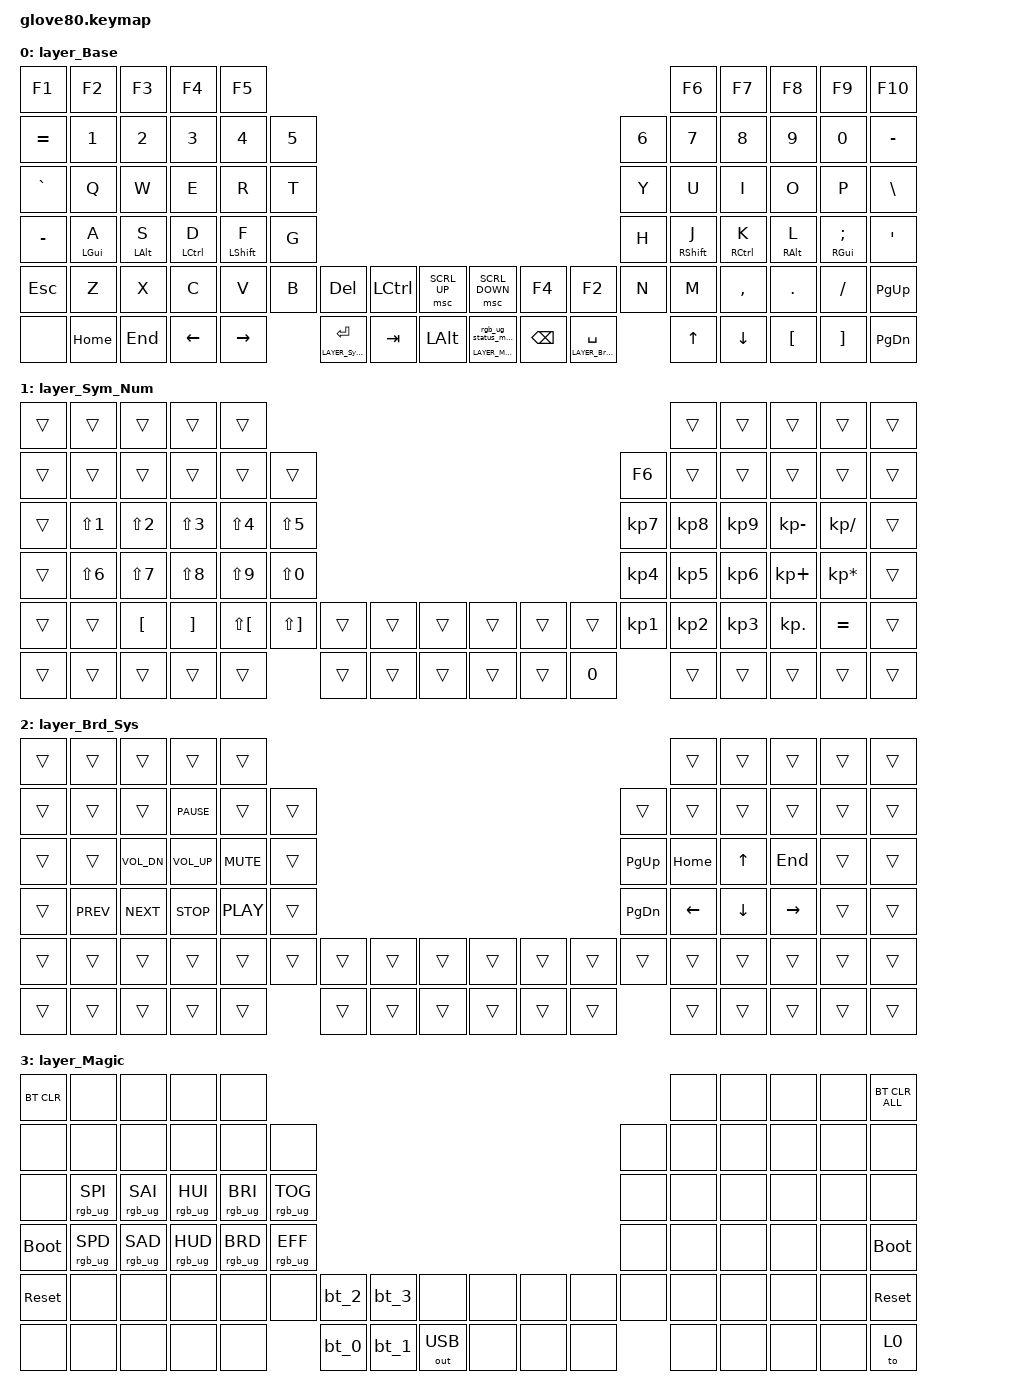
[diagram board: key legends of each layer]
/*
 * Copyright (c) 2020 The ZMK Contributors
 * Copyright (c) 2025 Innaworks Development Limited, trading as MoErgo
 *
 * SPDX-License-Identifier: MIT
 */


/* THIS FILE WAS GENERATED BY GLOVE80 LAYOUT EDITOR
 *
 * This file was generated automatically. You may or may not want to
 * edit it directly.
 */

#include <behaviors.dtsi>
/* Include all behavior includes needed */
#include <dt-bindings/zmk/outputs.h>
#include <dt-bindings/zmk/keys.h>
#include <dt-bindings/zmk/bt.h>
#include <dt-bindings/zmk/rgb.h>

/* On demand includes */
#include <dt-bindings/zmk/pointing.h>

/* Helper Macros, based on https://github.com/urob/zmk-helpers/ */

#pragma once

#define ZMK_HELPER_STRINGIFY(x) #x

// Preprocessor mechanism to overload macros, cf. https://stackoverflow.com/a/27051616/6114651
#define VARGS_(_10, _9, _8, _7, _6, _5, _4, _3, _2, _1, N, ...) N
#define VARGS(...) VARGS_(__VA_ARGS__, 10, 9, 8, 7, 6, 5, 4, 3, 2, 1, 0)
#define CONCAT_(a, b) a##b
#define CONCAT(a, b) CONCAT_(a, b)

#define ZMK_BEHAVIOR_CORE_tap_dance  \
    compatible = "zmk,behavior-tap-dance"; \
    #binding-cells = <0>

#define ZMK_BEHAVIOR(name, type, ...) \
    name: name { \
        ZMK_BEHAVIOR_CORE_ ## type; \
        __VA_ARGS__ \
    };

#define ZMK_TAP_DANCE(name, ...) \
    ZMK_BEHAVIOR(name, tap_dance, __VA_ARGS__)

#define ZMK_TD_LAYER(name, layer) \
    ZMK_TAP_DANCE(name, \
        tapping-term-ms = <200>; \
        bindings = <&mo layer>, <&to layer>; \
)

/* Environment and metadata defines */
#define KB_TYPE_GLOVE_80 1
#define KB_TYPE_GO_60    2

#define KB_TYPE          KB_TYPE_GLOVE_80
#define EDITOR_HOST_OS   'W'

/* Automatically generated layer name defines */
#define LAYER_Base 0
#define LAYER_Sym_Num 1
#define LAYER_Brd_Sys 2
#define LAYER_Magic 3

/* To deal with the situation where there is no Lower layer, to keep &lower happy */
#ifndef LAYER_Lower
#define LAYER_Lower 0
#endif

/* Custom Device-tree */


/* Input Listeners */


/* System behavior and Macros */
/ {
    behaviors {
        ZMK_TD_LAYER(lower, LAYER_Lower)
    };
};

/ {
    macros {
        rgb_ug_status_macro: rgb_ug_status_macro {
            label = "RGB_UG_STATUS";
            compatible = "zmk,behavior-macro";
            #binding-cells = <0>;
            bindings
                = <&rgb_ug RGB_STATUS>;
        };
    };
};


/ {
#ifdef BT_DISC_CMD
    behaviors {
        bt_0: bt_0 {
            compatible = "zmk,behavior-tap-dance";
            label = "BT_0";
            #binding-cells = <0>;
            tapping-term-ms = <200>;
            bindings = <&bt_select_0>, <&bt BT_DISC 0>;
        };
        bt_1: bt_1 {
            compatible = "zmk,behavior-tap-dance";
            label = "BT_1";
            #binding-cells = <0>;
            tapping-term-ms = <200>;
            bindings = <&bt_select_1>, <&bt BT_DISC 1>;
        };
        bt_2: bt_2 {
            compatible = "zmk,behavior-tap-dance";
            label = "BT_2";
            #binding-cells = <0>;
            tapping-term-ms = <200>;
            bindings = <&bt_select_2>, <&bt BT_DISC 2>;
        };
        bt_3: bt_3 {
            compatible = "zmk,behavior-tap-dance";
            label = "BT_3";
            #binding-cells = <0>;
            tapping-term-ms = <200>;
            bindings = <&bt_select_3>, <&bt BT_DISC 3>;
        };
    };
    macros {
        bt_select_0: bt_select_0 {
            label = "BT_SELECT_0";
            compatible = "zmk,behavior-macro";
            #binding-cells = <0>;
            bindings
                = <&out OUT_BLE>,
                  <&bt BT_SEL 0>;
        };
        bt_select_1: bt_select_1 {
            label = "BT_SELECT_1";
            compatible = "zmk,behavior-macro";
            #binding-cells = <0>;
            bindings
                = <&out OUT_BLE>,
                  <&bt BT_SEL 1>;
        };
        bt_select_2: bt_select_2 {
            label = "BT_SELECT_2";
            compatible = "zmk,behavior-macro";
            #binding-cells = <0>;
            bindings
                = <&out OUT_BLE>,
                  <&bt BT_SEL 2>;
        };
        bt_select_3: bt_select_3 {
            label = "BT_SELECT_3";
            compatible = "zmk,behavior-macro";
            #binding-cells = <0>;
            bindings
                = <&out OUT_BLE>,
                  <&bt BT_SEL 3>;
        };
    };
#else
    macros {
        bt_0: bt_0 {
            label = "BT_0";
            compatible = "zmk,behavior-macro";
            #binding-cells = <0>;
            bindings
                = <&out OUT_BLE>,
                  <&bt BT_SEL 0>;
        };
        bt_1: bt_1 {
            label = "BT_1";
            compatible = "zmk,behavior-macro";
            #binding-cells = <0>;
            bindings
                = <&out OUT_BLE>,
                  <&bt BT_SEL 1>;
        };
        bt_2: bt_2 {
            label = "BT_2";
            compatible = "zmk,behavior-macro";
            #binding-cells = <0>;
            bindings
                = <&out OUT_BLE>,
                  <&bt BT_SEL 2>;
        };
        bt_3: bt_3 {
            label = "BT_3";
            compatible = "zmk,behavior-macro";
            #binding-cells = <0>;
            bindings
                = <&out OUT_BLE>,
                  <&bt BT_SEL 3>;
        };
    };
#endif
};

/ {
    behaviors {
        magic: magic {
            compatible = "zmk,behavior-hold-tap";
            label = "MAGIC_HOLD_TAP";
            #binding-cells = <2>;
            flavor = "tap-preferred";
            tapping-term-ms = <200>;
            bindings = <&mo>, <&rgb_ug_status_macro>;
        };
    };
};


/* Key positions */

#define POS_LH_C6R1 0
#define POS_LH_C5R1 1
#define POS_LH_C4R1 2
#define POS_LH_C3R1 3
#define POS_LH_C2R1 4
#define POS_RH_C2R1 5
#define POS_RH_C3R1 6
#define POS_RH_C4R1 7
#define POS_RH_C5R1 8
#define POS_RH_C6R1 9
#define POS_LH_C6R2 10
#define POS_LH_C5R2 11
#define POS_LH_C4R2 12
#define POS_LH_C3R2 13
#define POS_LH_C2R2 14
#define POS_LH_C1R2 15
#define POS_RH_C1R2 16
#define POS_RH_C2R2 17
#define POS_RH_C3R2 18
#define POS_RH_C4R2 19
#define POS_RH_C5R2 20
#define POS_RH_C6R2 21
#define POS_LH_C6R3 22
#define POS_LH_C5R3 23
#define POS_LH_C4R3 24
#define POS_LH_C3R3 25
#define POS_LH_C2R3 26
#define POS_LH_C1R3 27
#define POS_RH_C1R3 28
#define POS_RH_C2R3 29
#define POS_RH_C3R3 30
#define POS_RH_C4R3 31
#define POS_RH_C5R3 32
#define POS_RH_C6R3 33
#define POS_LH_C6R4 34
#define POS_LH_C5R4 35
#define POS_LH_C4R4 36
#define POS_LH_C3R4 37
#define POS_LH_C2R4 38
#define POS_LH_C1R4 39
#define POS_RH_C1R4 40
#define POS_RH_C2R4 41
#define POS_RH_C3R4 42
#define POS_RH_C4R4 43
#define POS_RH_C5R4 44
#define POS_RH_C6R4 45
#define POS_LH_C6R5 46
#define POS_LH_C5R5 47
#define POS_LH_C4R5 48
#define POS_LH_C3R5 49
#define POS_LH_C2R5 50
#define POS_LH_C1R5 51
#define POS_LH_T1 52
#define POS_LH_T2 53
#define POS_LH_T3 54
#define POS_RH_T3 55
#define POS_RH_T2 56
#define POS_RH_T1 57
#define POS_RH_C1R5 58
#define POS_RH_C2R5 59
#define POS_RH_C3R5 60
#define POS_RH_C4R5 61
#define POS_RH_C5R5 62
#define POS_RH_C6R5 63
#define POS_LH_C6R6 64
#define POS_LH_C5R6 65
#define POS_LH_C4R6 66
#define POS_LH_C3R6 67
#define POS_LH_C2R6 68
#define POS_LH_T4 69
#define POS_LH_T5 70
#define POS_LH_T6 71
#define POS_RH_T6 72
#define POS_RH_T5 73
#define POS_RH_T4 74
#define POS_RH_C2R6 75
#define POS_RH_C3R6 76
#define POS_RH_C4R6 77
#define POS_RH_C5R6 78
#define POS_RH_C6R6 79


/* Custom Defined Behaviors */
/ {
    behaviors {
        hm: homerow_mod {
            compatible = "zmk,behavior-hold-tap";
            #binding-cells = <2>;
            flavor = "balanced";
            tapping-term-ms = <280>;
            quick-tap-ms = <175>;
            require-prior-idle-ms = <150>;
            bindings = <&kp>, <&kp>;
        };
    };
};

/* Generated input processors */


/* Automatically generated macro definitions */
/ {
    macros {

        // Take a screenshot
        Screenshot: Screenshot {
            label = "&SCREENSHOT";
            compatible = "zmk,behavior-macro";
            #binding-cells = <0>;
            bindings = <&kp LGUI>
                , <&kp LSHFT>
                , <&kp S>;
        };
    };
};

/* Automatically generated behavior definitions */
/ {
    behaviors {


    };
};

/* Automatically generated combos definitions */


/* Automatically generated keymap */
/ {
    keymap {
        compatible = "zmk,keymap";


        layer_Base {
            bindings = <
    &kp F1      &kp F2      &kp F3       &kp F4       &kp F5                                                                                                                                &kp F6       &kp F7      &kp F8         &kp F9    &kp F10
 &kp EQUAL      &kp N1      &kp N2       &kp N3       &kp N4  &kp N5                                                                                                           &kp N6       &kp N7       &kp N8      &kp N9         &kp N0  &kp MINUS
 &kp GRAVE       &kp Q       &kp W        &kp E        &kp R   &kp T                                                                                                            &kp Y        &kp U        &kp I       &kp O          &kp P   &kp BSLH
 &kp MINUS  &hm LGUI A  &hm LALT S  &hm LCTRL D  &hm LSHFT F   &kp G                                                                                                            &kp H  &hm RSHFT J  &hm RCTRL K  &hm RALT L  &hm RGUI SEMI    &kp SQT
   &kp ESC       &kp Z       &kp X        &kp C        &kp V   &kp B                &kp DEL  &kp LCTRL  &msc SCRL_UP        &msc SCRL_DOWN    &kp F4                   &kp F2   &kp N        &kp M    &kp COMMA     &kp DOT       &kp FSLH  &kp PG_UP
     &none    &kp HOME     &kp END     &kp LEFT    &kp RIGHT          &lt LAYER_Sym_Num RET    &kp TAB      &kp LALT  &magic LAYER_Magic 0  &kp BSPC  &lt LAYER_Brd_Sys SPACE               &kp UP     &kp DOWN    &kp LBKT       &kp RBKT  &kp PG_DN
            >;
        };

        layer_Sym_Num {
            bindings = <
 &trans      &trans      &trans      &trans        &trans                                                                              &trans     &trans        &trans           &trans  &trans
 &trans      &trans      &trans      &trans        &trans        &trans                                                     &kp F6     &trans     &trans        &trans           &trans  &trans
 &trans  &kp LS(N1)  &kp LS(N2)  &kp LS(N3)    &kp LS(N4)    &kp LS(N5)                                                  &kp KP_N7  &kp KP_N8  &kp KP_N9  &kp KP_MINUS     &kp KP_SLASH  &trans
 &trans  &kp LS(N6)  &kp LS(N7)  &kp LS(N8)    &kp LS(N9)    &kp LS(N0)                                                  &kp KP_N4  &kp KP_N5  &kp KP_N6   &kp KP_PLUS  &kp KP_MULTIPLY  &trans
 &trans      &trans    &kp LBKT    &kp RBKT  &kp LS(LBKT)  &kp LS(RBKT)  &trans  &trans  &trans  &trans  &trans  &trans  &kp KP_N1  &kp KP_N2  &kp KP_N3    &kp KP_DOT        &kp EQUAL  &trans
 &trans      &trans      &trans      &trans        &trans                &trans  &trans  &trans  &trans  &trans  &kp N0                &trans     &trans        &trans           &trans  &trans
            >;
        };

        layer_Brd_Sys {
            bindings = <
 &trans      &trans        &trans        &trans      &trans                                                                       &trans    &trans     &trans  &trans  &trans
 &trans      &trans        &trans   &kp C_PAUSE      &trans  &trans                                                     &trans    &trans    &trans     &trans  &trans  &trans
 &trans      &trans  &kp C_VOL_DN  &kp C_VOL_UP  &kp C_MUTE  &trans                                                  &kp PG_UP  &kp HOME    &kp UP    &kp END  &trans  &trans
 &trans  &kp C_PREV    &kp C_NEXT    &kp C_STOP  &kp C_PLAY  &trans                                                  &kp PG_DN  &kp LEFT  &kp DOWN  &kp RIGHT  &trans  &trans
 &trans      &trans        &trans        &trans      &trans  &trans  &trans  &trans  &trans  &trans  &trans  &trans     &trans    &trans    &trans     &trans  &trans  &trans
 &trans      &trans        &trans        &trans      &trans          &trans  &trans  &trans  &trans  &trans  &trans               &trans    &trans     &trans  &trans  &trans
            >;
        };

        layer_Magic {
            bindings = <
  &bt BT_CLR            &none            &none            &none            &none                                                                                  &none   &none   &none   &none  &bt BT_CLR_ALL
       &none            &none            &none            &none            &none            &none                                                         &none   &none   &none   &none   &none           &none
       &none  &rgb_ug RGB_SPI  &rgb_ug RGB_SAI  &rgb_ug RGB_HUI  &rgb_ug RGB_BRI  &rgb_ug RGB_TOG                                                         &none   &none   &none   &none   &none           &none
 &bootloader  &rgb_ug RGB_SPD  &rgb_ug RGB_SAD  &rgb_ug RGB_HUD  &rgb_ug RGB_BRD  &rgb_ug RGB_EFF                                                         &none   &none   &none   &none   &none     &bootloader
  &sys_reset            &none            &none            &none            &none            &none   &bt_2   &bt_3         &none   &none   &none   &none   &none   &none   &none   &none   &none      &sys_reset
       &none            &none            &none            &none            &none                    &bt_0   &bt_1  &out OUT_USB   &none   &none   &none           &none   &none   &none   &none           &to 0
            >;
        };

    };
};
